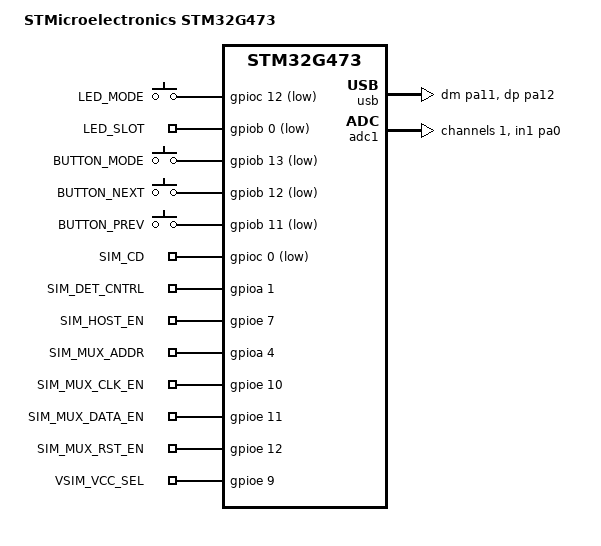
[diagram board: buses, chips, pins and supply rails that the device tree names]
/* Copyright 2023 The ChromiumOS Authors
 * Use of this source code is governed by a BSD-style license that can be
 * found in the LICENSE file.
 */

/* PVT1 uses STM32G473MET6. 512KB of flash and 128KB RAM */

/dts-v1/;

#include <st/g4/stm32g473Xc.dtsi>
#include <st/g4/stm32g473m(b-c-e)tx-pinctrl.dtsi>

/ {
	model = "STMicroelectronics STM32G473";
	compatible = "st,stm32g473";

	chosen {
		zephyr,sram = &sram0;
		zephyr,flash = &flash0;
		zephyr,code-partition = &boot_partition;
		zephyr,shell-uart = &cdc_acm_uart0;
	};

	gpio {
		/* ADC Input pin for the SIM Host voltage. */
		vcc_sim_host_sns {
			compatible = "voltage-divider";
			label = "ADC_SIM_HOST_SNS";
			io-channels = <&adc1 1>;
			output-ohms = <10000>;
			full-ohms = <20000>;
		};

		led {
			compatible = "gpio-keys";
			label = "LED";

			/* LED mode indicator. */
			led_mode {
				label = "LED_MODE";
				gpios = <&gpioc 12 GPIO_ACTIVE_LOW>,
				        <&gpioc 13 GPIO_ACTIVE_LOW>;
			};

			/* Controls the LEDs on the individual slots */
			led_sim_slot {
				label = "LED_SLOT";
				gpios = <&gpiob 0 GPIO_ACTIVE_LOW>,
				        <&gpiob 1 GPIO_ACTIVE_LOW>,
				        <&gpiob 2 GPIO_ACTIVE_LOW>,
				        <&gpiob 3 GPIO_ACTIVE_LOW>,
				        <&gpiob 5 GPIO_ACTIVE_LOW>,
				        <&gpiob 9 GPIO_ACTIVE_LOW>,
				        <&gpiob 10 GPIO_ACTIVE_LOW>,
				        <&gpiob 15 GPIO_ACTIVE_LOW>;
			};
		};
		button {
			compatible = "gpio-keys";
			label = "BUTTON";
			mode {
				label = "BUTTON_MODE";
				gpios = <&gpiob 13 (GPIO_ACTIVE_LOW)>;
			};
			next {
				label = "BUTTON_NEXT";
				gpios = <&gpiob 12 GPIO_ACTIVE_LOW>;
			};
			prev {
				label = "BUTTON_PREV";
				gpios = <&gpiob 11 GPIO_ACTIVE_LOW>;
			};
		};
		sim {
			compatible = "gpio-keys";
			label = "SIM";
			/* Read the SIM slot chip detection pins */
			chip_detect {
				label = "SIM_CD";
				gpios = <&gpioc 0 GPIO_ACTIVE_LOW>,
				        <&gpioc 1 GPIO_ACTIVE_LOW>,
				        <&gpioc 2 GPIO_ACTIVE_LOW>,
				        <&gpioc 3 GPIO_ACTIVE_LOW>,
				        <&gpioc 4 GPIO_ACTIVE_LOW>,
				        <&gpioc 5 GPIO_ACTIVE_LOW>,
				        <&gpioc 6 GPIO_ACTIVE_LOW>,
				        <&gpioc 7 GPIO_ACTIVE_LOW>;
			};

			/* Controls the SPDT switch for the DUT SIM detection. */
			sim_det_cntrl {
				label = "SIM_DET_CNTRL";
				gpios = <&gpioa 1 GPIO_ACTIVE_HIGH>;
			};

			/* Control the voltage shifter, handles SIM disconnect. */
			sim_host_en {
				label = "SIM_HOST_EN";
				gpios = <&gpioe 7 GPIO_ACTIVE_HIGH>;
			};

			/* Select the SIM mux address from 0 to 7 */
			sim_mux_addr {
				label = "SIM_MUX_ADDR";
				gpios = <&gpioa 4 GPIO_ACTIVE_HIGH>,
				        <&gpioa 5 GPIO_ACTIVE_HIGH>,
				        <&gpioa 6 GPIO_ACTIVE_HIGH>;
			};

			/* Control the ESIM Enables for each data line */
			sim_mux_clk_en {
				label = "SIM_MUX_CLK_EN";
				gpios = <&gpioe 10 GPIO_ACTIVE_HIGH>;
			};
			sim_mux_data_en {
				label = "SIM_MUX_DATA_EN";
				gpios = <&gpioe 11 GPIO_ACTIVE_HIGH>;
			};
			sim_mux_rst_en {
				label = "SIM_MUX_RST_EN";
				gpios = <&gpioe 12 GPIO_ACTIVE_HIGH>;
			};

			/* Select the SIM card voltage between 1.8V and 3.0V. */
			sim_vcc_sel {
				label = "VSIM_VCC_SEL";
				gpios = <&gpioe 9 GPIO_ACTIVE_HIGH>;
			};
		};
	};
};


&flash0 {
	partitions {
		compatible = "fixed-partitions";
		#address-cells = <1>;
		#size-cells = <1>;

		boot_partition: partition@0 {
			label = "boot";
			reg = <0x00000000 DT_SIZE_K(116)>;
		};

		storage_partition: partition@1d000 {
			label = "storage";
			reg = <0x0001d000 DT_SIZE_K(12)>;
		};
	};
};


/* Enable 16MHz HSI */
&clk_hsi{
	status = "okay";
};


/* Enable 48MHz HSI48 */
&clk_hsi48 {
	status = "okay";
};


/* Set PLLCLK to 96MHz */
&pll {
	div-m = <1>;
	mul-n = <12>;
	div-p = <2>;
	div-q = <4>;
	div-r = <2>;
	clocks = <&clk_hsi>;
	status = "okay";
};


/* SYSCLK set to 96MHz */
&rcc {
	clocks = <&pll>;
	clock-frequency = <DT_FREQ_M(48)>;
	ahb-prescaler = <1>;
	apb1-prescaler = <1>;
	apb2-prescaler = <1>;
};


zephyr_udc0: &usb {
	pinctrl-0 = <&usb_dm_pa11 &usb_dp_pa12>;
	pinctrl-names = "default";
	cdc_acm_uart0: cdc_acm_uart0 {
		compatible = "zephyr,cdc-acm-uart";
	};
	status = "okay";
};


&adc1 {
	pinctrl-0 = <&adc1_in1_pa0>;
	pinctrl-names = "default";
	st,adc-clock-source = <SYNC>;
	st,adc-prescaler = <4>;
	status = "okay";
	#address-cells = <1>;
	#size-cells = <0>;

	channel@1 {
		reg = <1>;
		zephyr,gain = "ADC_GAIN_1";
		zephyr,reference = "ADC_REF_INTERNAL";
		zephyr,acquisition-time = <ADC_ACQ_TIME_MAX>;
		zephyr,resolution = <12>;
	};
};

